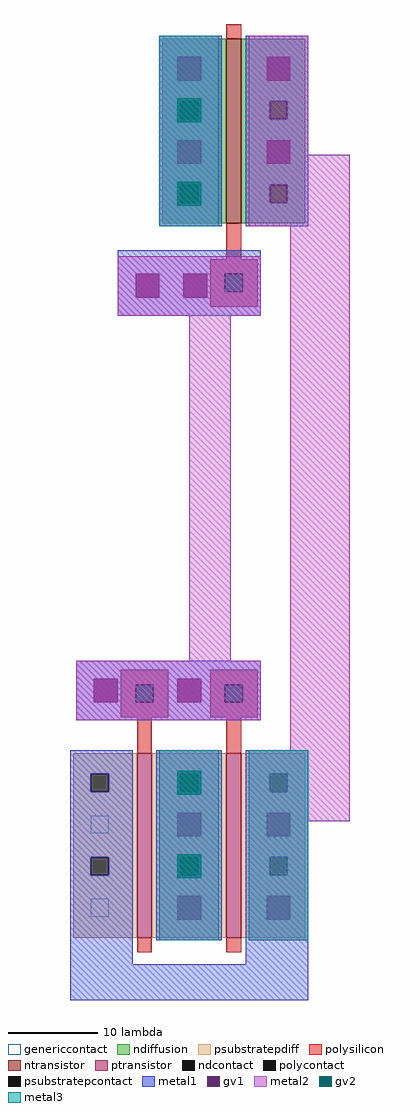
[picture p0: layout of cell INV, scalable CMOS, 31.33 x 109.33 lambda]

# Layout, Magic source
magic
tech scmos
magscale 1 6
<< ntransistor >>
rect 103 480 113 604
<< ptransistor >>
rect 43 0 53 124
rect 103 0 113 124
<< ndiffusion >>
rect 60 562 103 604
rect 60 550 72 562
rect 84 550 103 562
rect 60 506 103 550
rect 60 494 72 506
rect 84 494 103 506
rect 60 480 103 494
rect 113 562 156 604
rect 113 550 132 562
rect 144 550 156 562
rect 113 506 156 550
rect 113 494 132 506
rect 144 494 156 506
rect 113 480 156 494
<< ndcontact >>
rect 72 550 84 562
rect 72 494 84 506
rect 132 550 144 562
rect 132 494 144 506
<< psubstratepdiff >>
rect 0 110 43 124
rect 0 98 12 110
rect 24 98 43 110
rect 0 54 43 98
rect 0 42 12 54
rect 24 42 43 54
rect 0 0 43 42
rect 53 110 103 124
rect 53 98 72 110
rect 84 98 103 110
rect 53 54 103 98
rect 53 42 72 54
rect 84 42 103 54
rect 53 0 103 42
rect 113 110 156 124
rect 113 98 132 110
rect 144 98 156 110
rect 113 54 156 98
rect 113 42 132 54
rect 144 42 156 54
rect 113 0 156 42
<< psubstratepcontact >>
rect 12 98 24 110
rect 12 42 24 54
rect 72 98 84 110
rect 72 42 84 54
rect 132 98 144 110
rect 132 42 144 54
<< polysilicon >>
rect 103 604 113 614
rect 103 456 113 480
rect 43 124 53 148
rect 103 124 113 148
rect 43 -10 53 0
rect 103 -10 113 0
<< metal1 >>
rect 58 562 100 606
rect 58 550 72 562
rect 84 550 100 562
rect 58 506 100 550
rect 58 494 72 506
rect 84 494 100 506
rect 58 478 100 494
rect 116 562 158 606
rect 116 550 132 562
rect 144 550 158 562
rect 116 506 158 550
rect 116 494 132 506
rect 144 494 158 506
rect 116 478 158 494
rect 30 418 126 462
rect 2 146 126 186
rect -2 110 40 126
rect -2 98 12 110
rect 24 98 40 110
rect -2 54 40 98
rect -2 42 12 54
rect 24 42 40 54
rect -2 -18 40 42
rect 56 110 100 126
rect 56 98 72 110
rect 84 98 100 110
rect 56 54 100 98
rect 56 42 72 54
rect 84 42 100 54
rect 56 -2 100 42
rect 116 110 158 126
rect 116 98 132 110
rect 144 98 158 110
rect 116 54 158 98
rect 116 42 132 54
rect 144 42 158 54
rect 116 -18 158 42
rect -2 -42 158 -18
<< metal2 >>
rect 58 478 98 606
rect 118 526 158 606
rect 118 478 186 526
rect 30 418 126 458
rect 78 186 106 418
rect 2 146 126 186
rect 146 126 186 478
rect 58 -2 98 126
rect 118 78 186 126
rect 118 -2 158 78
<< metal3 >>
rect 58 478 98 606
rect 58 -2 98 126
rect 118 -2 158 126
use CONT  CONT_0
transform -1 0 18 0 -1 76
box -6 -6 6 6
use CONT  CONT_1
transform -1 0 18 0 -1 20
box -6 -6 6 6
use poly1cont_CDNS_704676826053  poly1cont_CDNS_704676826053_0
transform 1 0 90 0 1 146
box 0 0 36 36
use poly1cont_CDNS_704676826053  poly1cont_CDNS_704676826053_1
transform -1 0 126 0 -1 458
box 0 0 36 36
use poly1cont_CDNS_704676826053  poly1cont_CDNS_704676826053_2
transform 1 0 30 0 1 146
box 0 0 36 36
use VIA1  VIA1_0
transform -1 0 138 0 -1 76
box -8 -8 8 8
use VIA1  VIA1_1
transform 1 0 78 0 1 528
box -8 -8 8 8
use VIA1  VIA1_2
transform 1 0 78 0 1 584
box -8 -8 8 8
use VIA1  VIA1_3
transform 1 0 138 0 1 528
box -8 -8 8 8
use VIA1  VIA1_4
transform -1 0 138 0 -1 20
box -8 -8 8 8
use VIA1  VIA1_5
transform 1 0 50 0 1 438
box -8 -8 8 8
use VIA1  VIA1_6
transform 1 0 22 0 1 166
box -8 -8 8 8
use VIA1  VIA1_7
transform -1 0 78 0 -1 76
box -8 -8 8 8
use VIA1  VIA1_8
transform 1 0 138 0 1 584
box -8 -8 8 8
use VIA1  VIA1_9
transform 1 0 78 0 1 166
box -8 -8 8 8
use VIA1  VIA1_10
transform 1 0 82 0 1 438
box -8 -8 8 8
use VIA1  VIA1_11
transform -1 0 78 0 -1 20
box -8 -8 8 8
use VIA2  VIA2_0
transform 1 0 78 0 1 500
box -8 -8 8 8
use VIA2  VIA2_1
transform -1 0 78 0 -1 48
box -8 -8 8 8
use VIA2  VIA2_2
transform 1 0 78 0 1 556
box -8 -8 8 8
use VIA2  VIA2_3
transform -1 0 78 0 -1 104
box -8 -8 8 8
<< end >>

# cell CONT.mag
magic
tech scmos
<< genericcontact >>
rect -1 -1 1 1
<< end >>

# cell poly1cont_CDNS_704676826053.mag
magic
tech scmos
magscale 1 3
<< polysilicon >>
rect 1 12 17 17
rect 1 6 6 12
rect 12 6 17 12
rect 1 1 17 6
<< polycontact >>
rect 6 6 12 12
<< metal1 >>
rect 0 12 18 18
rect 0 6 6 12
rect 12 6 18 12
rect 0 0 18 6
<< end >>

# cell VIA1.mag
magic
tech scmos
magscale 1 3
<< gv1 >>
rect -4 -4 4 4
<< end >>

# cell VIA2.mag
magic
tech scmos
magscale 1 3
<< gv2 >>
rect -4 -4 4 4
<< end >>
